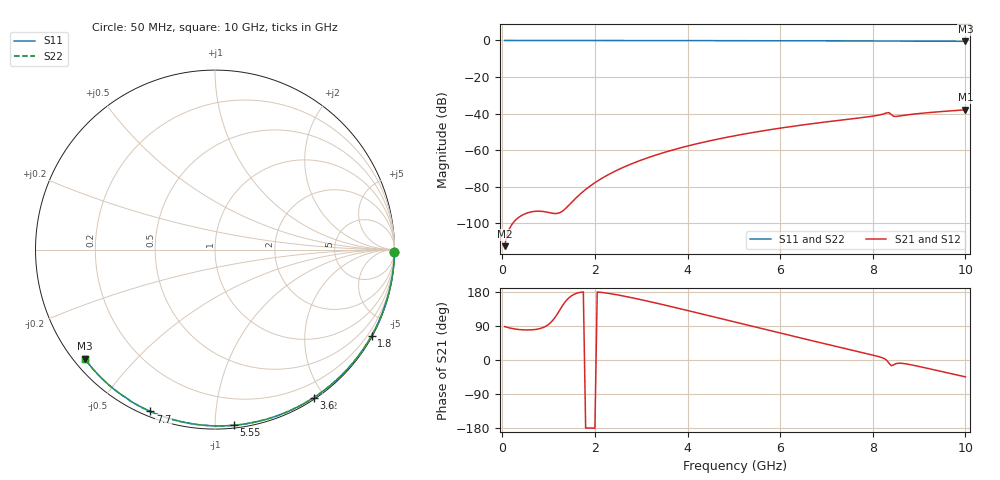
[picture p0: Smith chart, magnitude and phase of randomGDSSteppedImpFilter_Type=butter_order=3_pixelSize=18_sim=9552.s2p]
! freq	dB(S11)	phase(S11)	dB(S12)	phase(S12)
!  dB(S21)	phase(S21)	dB(S22)	phase(S22)
!S-par simulation data
#  GHz  S  DB  R 50
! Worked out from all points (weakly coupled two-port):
!   200 points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, 50 MHz to 10 GHz, reference 50 ohm
!   highest |S21| = -37.95 dB at 10 GHz (marker M1); lowest = -112.6 dB at 50 MHz (marker M2)
!   lowest |S11| = -0.5 dB at 10 GHz (marker M3), VSWR 36.53, Z = 1.55 - j18.2 ohm
!   |S11| at or under -10 dB: nowhere
!   |S22| runs from -0.5 to 0.0 dB; largest |S21 - S12| = 0
!   S11 on the Smith chart (normalised r, x): 50 MHz: open; 1.8 GHz: 0.03, -3.89; 3.6 GHz: 0.02, -1.87; 5.55 GHz: 0.02, -1.11; 7.7 GHz: 0.02, -0.68; 10 GHz: 0.03, -0.36
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0.05  -0.00 -0.8  -112.57 88.1  -112.57 88.1  -0.00 -0.8
0.9  -0.02 -14.5  -93.66 86.7  -93.66 86.7  -0.02 -14.5
1.75  -0.04 -28.0  -82.57 179.7  -82.57 179.7  -0.04 -28.0
1.8  -0.04 -28.8  -81.53 -179.7  -81.53 -179.7  -0.04 -28.8
1.85  -0.04 -29.6  -80.55 -179.5  -80.55 -179.5  -0.04 -29.6
1.9  -0.04 -30.4  -79.61 -179.5  -79.61 -179.5  -0.04 -30.4
2.25  -0.05 -35.8  -73.99 176.6  -73.99 176.6  -0.05 -35.8
2.65  -0.05 -42.0  -69.02 168.0  -69.02 168.0  -0.05 -42.0
3  -0.06 -47.3  -65.47 159.1  -65.47 159.1  -0.06 -47.3
3.4  -0.07 -53.3  -62.04 148.0  -62.04 148.0  -0.07 -53.3
3.6  -0.08 -56.2  -60.51 142.3  -60.51 142.3  -0.08 -56.2
4.3  -0.09 -66.4  -55.94 121.8  -55.94 121.8  -0.09 -66.4
5.05  -0.12 -77.0  -52.01 99.5  -52.01 99.5  -0.12 -77.0
5.55  -0.14 -83.8  -49.78 84.6  -49.78 84.6  -0.14 -83.8
6.7  -0.19 -99.0  -45.52 50.6  -45.52 50.6  -0.19 -99.0
7.7  -0.25 -111.8  -42.42 21.6  -42.42 21.6  -0.25 -111.8
8.1  -0.28 -116.8  -41.01 9.9  -41.01 9.9  -0.28 -116.8
8.35  -0.32 -120.0  -39.50 -8.5  -39.50 -8.5  -0.31 -120.0
8.45  -0.33 -121.1  -41.51 -12.8  -41.51 -12.8  -0.33 -121.1
8.5  -0.33 -121.7  -41.60 -9.7  -41.60 -9.7  -0.33 -121.7
9  -0.37 -127.8  -39.97 -17.1  -39.97 -17.1  -0.37 -127.8
10  -0.48 -140.0  -37.95 -44.5  -37.95 -44.5  -0.48 -140.0
